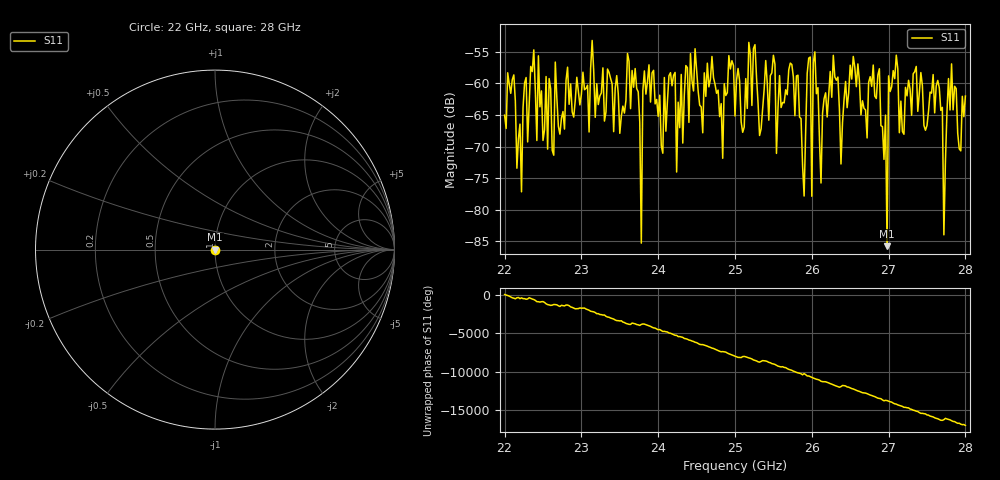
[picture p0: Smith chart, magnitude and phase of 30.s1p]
#  HZ  S  RI  R  50.00
! Rohde & Schwarz ZVA40 4Ports - Version 3.90 - 1145.1110k42 SN: 100403
! Date: 2023-10-04 11:34:36
! Measurement: S12
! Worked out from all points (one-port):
!   301 points, 22 GHz to 28 GHz, reference 50 ohm
!   lowest |S11| = -85.8 dB at 26.98 GHz (marker M1), VSWR 1.00, Z = 50 - j0.00426 ohm
!   |S11| at or under -10 dB: start of sweep to end of sweep
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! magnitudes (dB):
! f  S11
! 22 GHz  -65.0
! 22.22 GHz  -77.2
! 22.76 GHz  -64.5
! 23.1 GHz  -67.7
! 23.14 GHz  -53.2
! 23.5 GHz  -67.9
! 23.7 GHz  -57.6
! 23.78 GHz  -85.3
! 23.82 GHz  -58.0
! 24.26 GHz  -63.0
! 25 GHz  -65.2
! 25.76 GHz  -59.0
! 25.9 GHz  -77.9
! 25.98 GHz  -55.8
! 26 GHz  -77.9
! 26.04 GHz  -55.0
! 26.12 GHz  -75.8
! 26.28 GHz  -55.6
! 26.38 GHz  -72.8
! 26.5 GHz  -57.1
! 26.88 GHz  -57.7
! 26.98 GHz  -85.8
! 27 GHz  -58.8
! 27.26 GHz  -59.5
! 27.64 GHz  -59.5
! 27.72 GHz  -84.0
! 27.78 GHz  -59.2
! 28 GHz  -62.0
